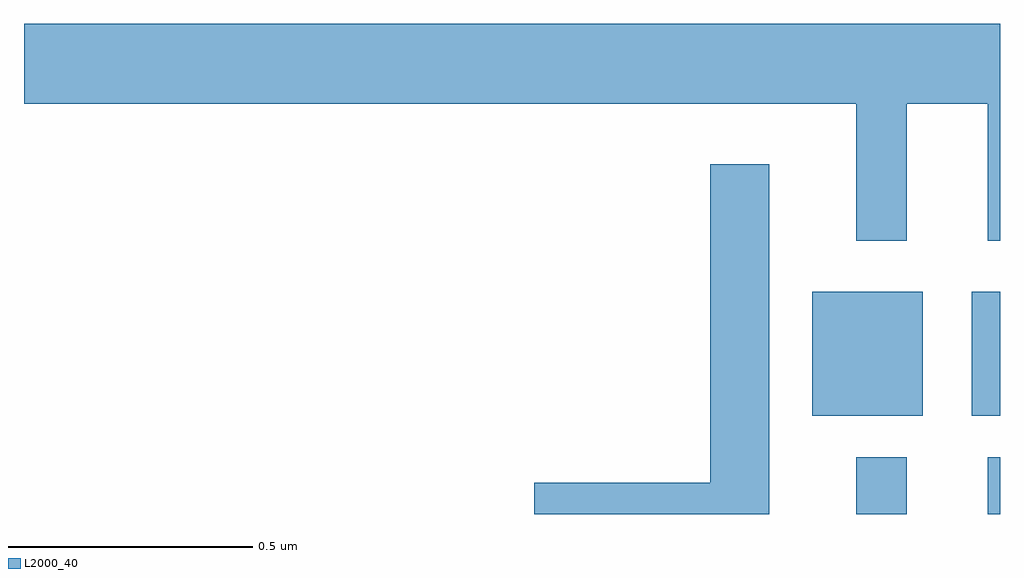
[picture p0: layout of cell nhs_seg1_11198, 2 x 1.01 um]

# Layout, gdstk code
import gdstk
lib = gdstk.Library(unit=1e-6, precision=1e-09)
def R(c, l, rs):  # rectangles x0, y0, x1, y1
    for r in rs: c.add(gdstk.rectangle(r[:2], r[2:], *l))
def P(c, l, *ps):  # polygons
    for p in ps: c.add(gdstk.Polygon(p, *l))
L2000_40 = (2000, 40)

nhs_seg1_11198 = lib.new_cell('nhs_seg1_11198')
R(nhs_seg1_11198, L2000_40, [(251.705,576.199,251.809,576.316), (251.975,576.199,252,576.316), (251.615,576.401,251.842,576.655), (251.942,576.401,252,576.655)])
P(nhs_seg1_11198, L2000_40, [(251.809,577.04),(251.975,577.04),(251.975,576.759),(252,576.759),(252,577.204),(250,577.204),(250,577.04),(251.705,577.04),(251.705,576.759),(251.809,576.759)],
  [(251.527,576.916),(251.406,576.916),(251.406,576.263),(251.046,576.263),(251.046,576.199),(251.527,576.199)])

lib.write_gds('nhs_seg1_11198.gds')
